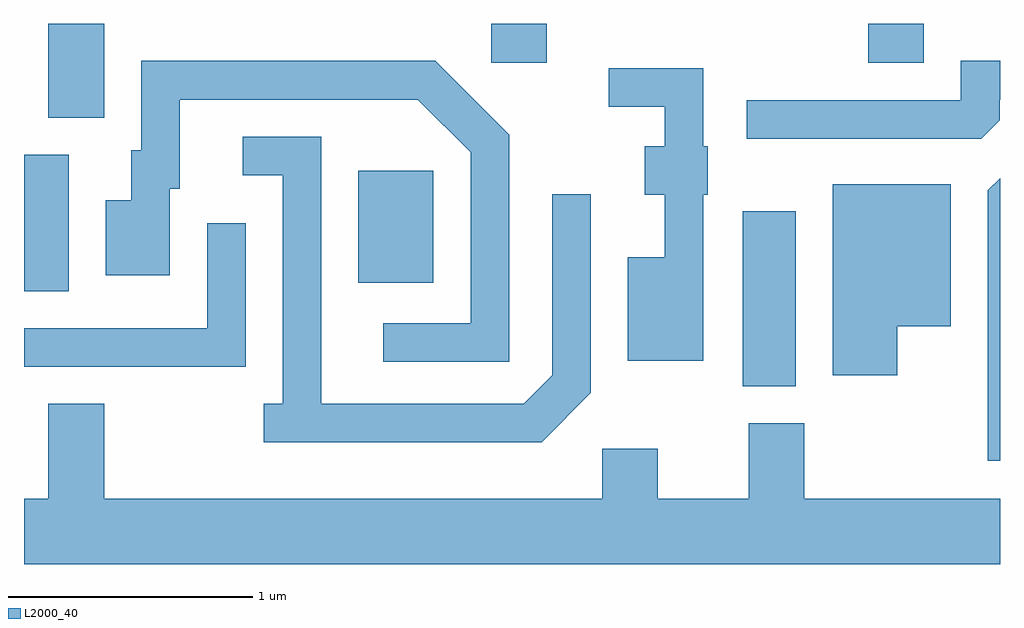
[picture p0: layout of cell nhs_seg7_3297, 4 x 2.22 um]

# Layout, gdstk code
import gdstk
lib = gdstk.Library(unit=1e-6, precision=1e-09)
def R(c, l, rs):  # rectangles x0, y0, x1, y1
    for r in rs: c.add(gdstk.rectangle(r[:2], r[2:], *l))
def P(c, l, *ps):  # polygons
    for p in ps: c.add(gdstk.Polygon(p, *l))
L2000_40 = (2000, 40)

nhs_seg7_3297 = lib.new_cell('nhs_seg7_3297')
R(nhs_seg7_3297, L2000_40, [(288.556,1772.766,288.774,1773.484), (285.611,1773.156,285.794,1773.714), (286.981,1773.191,287.289,1773.649), (285.711,1773.866,285.939,1774.252), (287.526,1774.091,287.754,1774.252), (289.071,1774.091,289.299,1774.252)])
P(nhs_seg7_3297, L2000_40, [(287.599,1773.797),(287.297,1774.099),(286.091,1774.099),(286.091,1773.734),(286.051,1773.734),(286.051,1773.529),(285.946,1773.529),(285.946,1773.221),(286.209,1773.221),(286.209,1773.576),(286.249,1773.576),(286.249,1773.941),(287.224,1773.941),(287.441,1773.724),(287.441,1773.024),(287.083,1773.024),(287.083,1772.866),(287.599,1772.866)],
  [(289.609,1773.857),(289.609,1773.941),(289.611,1773.941),(289.611,1774.099),(289.451,1774.099),(289.451,1773.939),(288.573,1773.939),(288.573,1773.781),(289.534,1773.781)],
  [(288.394,1773.551),(288.414,1773.551),(288.414,1773.749),(288.394,1773.749),(288.394,1774.069),(288.008,1774.069),(288.008,1773.911),(288.236,1773.911),(288.236,1773.749),(288.156,1773.749),(288.156,1773.551),(288.236,1773.551),(288.236,1773.294),(288.086,1773.294),(288.086,1772.871),(288.394,1772.871)],
  [(287.934,1772.739),(287.934,1773.553),(287.776,1773.553),(287.776,1772.812),(287.659,1772.694),(286.829,1772.694),(286.829,1773.789),(286.508,1773.789),(286.508,1773.631),(286.671,1773.631),(286.671,1772.694),(286.593,1772.694),(286.593,1772.536),(287.732,1772.536)],
  [(289.611,1773.618),(289.561,1773.569),(289.561,1772.461),(289.611,1772.461)],
  [(289.189,1773.011),(289.409,1773.011),(289.409,1773.594),(288.926,1773.594),(288.926,1772.811),(289.189,1772.811)],
  [(286.519,1773.433),(286.361,1773.433),(286.361,1773.004),(285.611,1773.004),(285.611,1772.846),(286.519,1772.846)],
  [(289.611,1772.304),(288.809,1772.304),(288.809,1772.614),(288.581,1772.614),(288.581,1772.304),(288.209,1772.304),(288.209,1772.509),(287.981,1772.509),(287.981,1772.304),(285.939,1772.304),(285.939,1772.694),(285.711,1772.694),(285.711,1772.304),(285.611,1772.304),(285.611,1772.036),(289.611,1772.036)])

lib.write_gds('nhs_seg7_3297.gds')
